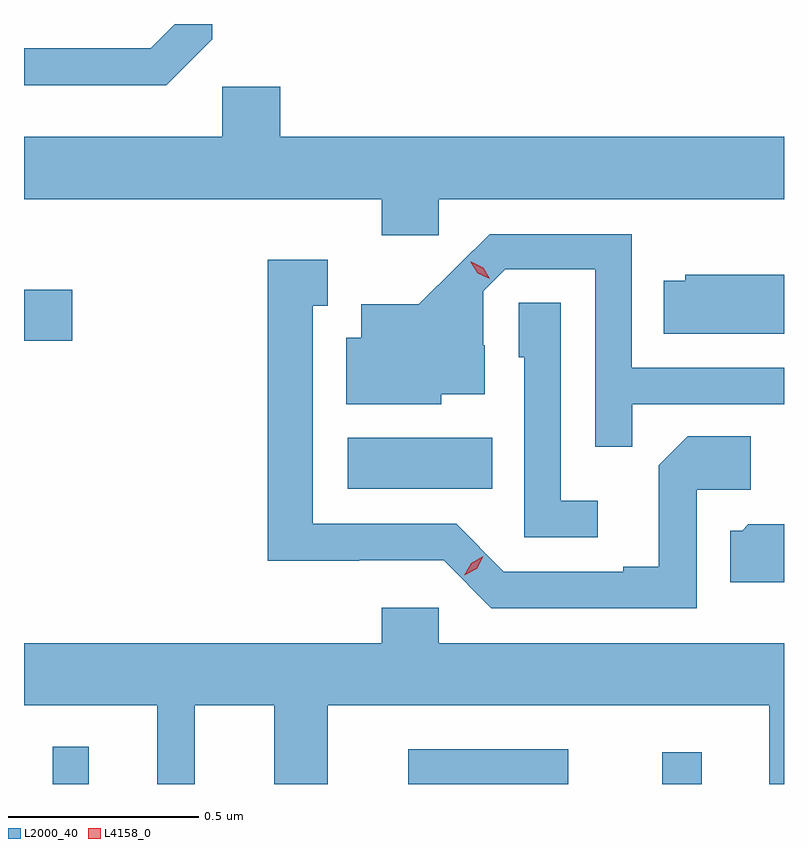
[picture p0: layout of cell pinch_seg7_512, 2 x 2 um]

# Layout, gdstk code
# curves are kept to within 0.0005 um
import gdstk
lib = gdstk.Library(unit=1e-6, precision=1e-09)
def R(c, l, rs):  # rectangles x0, y0, x1, y1
    for r in rs: c.add(gdstk.rectangle(r[:2], r[2:], *l))
def P(c, l, *ps):  # polygons
    for p in ps: c.add(gdstk.Polygon(p, *l))
L2000_40 = (2000, 40)
L4158_0 = (4158, 0)

pinch_seg7_512 = lib.new_cell('pinch_seg7_512')
R(pinch_seg7_512, L2000_40, [(202.977,1072.337,203.073,1072.435), (203.913,1072.337,204.334,1072.429), (204.581,1072.337,204.685,1072.42), (203.754,1073.114,204.134,1073.248), (202.902,1073.504,203.029,1073.638)])
P(pinch_seg7_512, L2000_40, [(203.397,1074.297),(203.397,1074.337),(203.299,1074.337),(203.235,1074.273),(202.902,1074.273),(202.902,1074.176),(203.276,1074.176)],
  [(203.994,1073.876),(204.902,1073.876),(204.902,1074.04),(203.576,1074.04),(203.576,1074.172),(203.424,1074.172),(203.424,1074.04),(202.902,1074.04),(202.902,1073.876),(203.843,1073.876),(203.843,1073.781),(203.994,1073.781)],
  [(204.503,1073.337),(204.902,1073.337),(204.902,1073.433),(204.501,1073.433),(204.501,1073.784),(204.128,1073.784),(203.941,1073.599),(203.789,1073.599),(203.789,1073.512),(203.75,1073.512),(203.75,1073.336),(204,1073.336),(204,1073.363),(204.115,1073.363),(204.115,1073.492),(204.111,1073.492),(204.111,1073.634),(204.168,1073.691),(204.405,1073.691),(204.405,1073.224),(204.503,1073.224)],
  [(204.672,1073.112),(204.814,1073.112),(204.814,1073.252),(204.649,1073.252),(204.573,1073.176),(204.573,1072.909),(204.479,1072.909),(204.479,1072.896),(204.165,1072.896),(204.039,1073.022),(203.662,1073.022),(203.662,1073.595),(203.701,1073.595),(203.701,1073.716),(203.544,1073.716),(203.544,1072.925),(203.784,1072.925),(203.784,1072.926),(204.006,1072.926),(204.132,1072.8),(204.672,1072.8)],
  [(204.902,1073.677),(204.642,1073.677),(204.642,1073.662),(204.586,1073.662),(204.586,1073.522),(204.902,1073.522)],
  [(204.412,1073.083),(204.315,1073.083),(204.315,1073.603),(204.204,1073.603),(204.204,1073.46),(204.219,1073.46),(204.219,1072.986),(204.412,1072.986)],
  [(204.902,1073.02),(204.808,1073.02),(204.792,1073.004),(204.761,1073.004),(204.761,1072.868),(204.902,1072.868)],
  [(203.351,1072.544),(203.561,1072.544),(203.561,1072.337),(203.701,1072.337),(203.701,1072.544),(204.863,1072.544),(204.863,1072.337),(204.902,1072.337),(204.902,1072.708),(203.994,1072.708),(203.994,1072.801),(203.843,1072.801),(203.843,1072.708),(202.902,1072.708),(202.902,1072.544),(203.252,1072.544),(203.252,1072.337),(203.351,1072.337)])
P(pinch_seg7_512, L4158_0, [(204.127,1073.667),(204.096,1073.681),(204.078,1073.71),(204.078,1073.711),(204.079,1073.711),(204.11,1073.696),(204.127,1073.667),(204.127,1073.667)],
  [(204.061,1072.886),(204.061,1072.886),(204.079,1072.918),(204.111,1072.937),(204.111,1072.937),(204.111,1072.936),(204.093,1072.904),(204.061,1072.886)])

lib.write_gds('pinch_seg7_512.gds')
